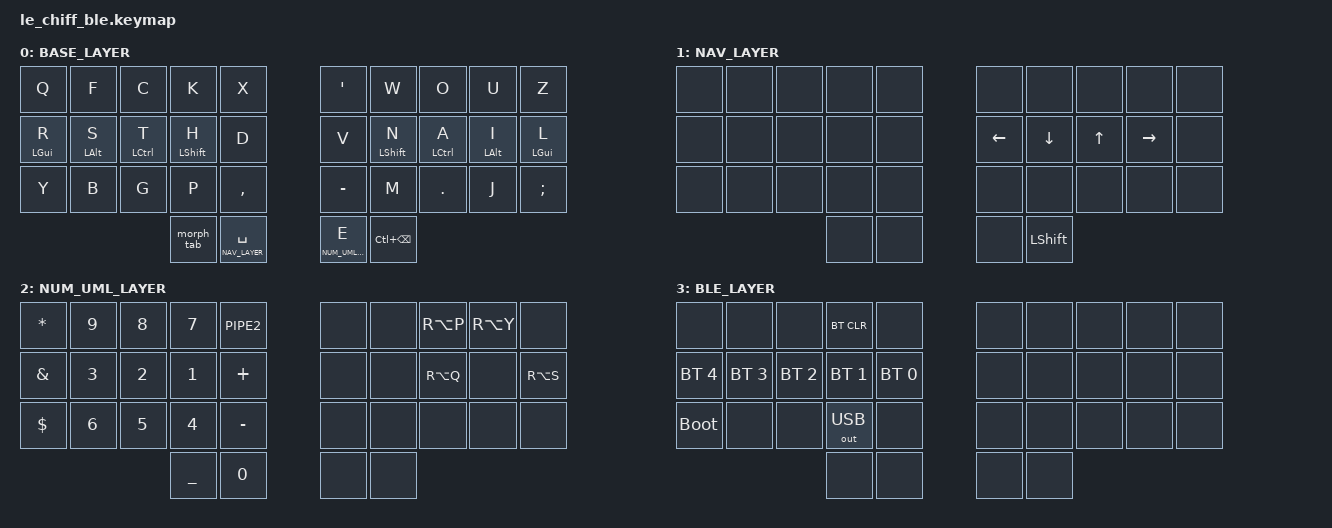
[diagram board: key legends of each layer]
/*
 * Copyright (c) 2020 The ZMK Contributors
 *
 * SPDX-License-Identifier: MIT
 */

#include <behaviors.dtsi>
#include <dt-bindings/zmk/keys.h>
#include <dt-bindings/zmk/bt.h>
#include <dt-bindings/zmk/outputs.h>

/*                KEY POSITIONS

  ╭────────────────────╮ ╭────────────────────╮
  │  0   1   2   3   4 │ │  5   6   7   8   9 │
  │ 10  11  12  13  14 │ │ 15  16  17  18  19 │
  │ 20  21  22  23  24 │ │ 25  26  27  28  29 │
  ╰───────────╮ 30  31 │ │ 32  33 ╭───────────╯
              ╰────────╯ ╰────────╯            
*/

#define BASE_LAYER 0
#define NAV_LAYER 1
#define NUM_UML_LAYER 2
#define BLE_LAYER 3

&caps_word {
   continue-list = <LSHIFT UNDERSCORE MINUS BSPC>; 
};

/ {

    macros {

	lambda_arrow: lambda_arrow {
            label = "lambda_arrow";
            compatible = "zmk,behavior-macro";
	    #binding-cells = <0>;
            wait-ms = <10>;
	    tap-ms = <10>;
	    bindings
	    = <&kp MINUS &kp GREATER_THAN>
	    ;
        };
	
    };

    combos {
        compatible = "zmk,combos"; 

        combo_lBrak {
            timeout-ms = <50>;
            key-positions = <1 2>;
            bindings = <&kp LBKT>;
        };

        combo_rBrak {
            timeout-ms = <50>;
            key-positions = <2 3>;
            bindings = <&kp RBKT>;
        };

        combo_lPar {
            timeout-ms = <50>;
            key-positions = <6 7>;
            bindings = <&kp LPAR>;
        };
	
	combo_rPar {
            timeout-ms = <50>;
            key-positions = <7 8>;
            bindings = <&kp RPAR>;
        };
	
// ------  second row ------------- 

        combo_del {
            timeout-ms = <50>;
            key-positions = <8 9>;
            bindings = <&kp DEL>;
        };

        combo_tab {
            timeout-ms = <25>;
            key-positions = <11 12>;
            bindings = <&kp TAB>;
        };
	
	combo_esc {
            timeout-ms = <25>;
            key-positions = <12 13>;
            bindings = <&kp ESC>;
        };
	
	combo_equals {
            timeout-ms = <50>;
            key-positions = <13 14>;
            bindings = <&kp EQUAL>;
        };
	
 	combo_grave {
            timeout-ms = <50>;
            key-positions = <15 16>;
            bindings = <&kp GRAVE>;
        };
 
        combo_enter {
            timeout-ms = <15>;
            key-positions = <16 17>;
            bindings = <&kp RET>;
        };

        combo_backspace {
            timeout-ms = <25>;
            key-positions = <17 18>;
            bindings = <&kp BSPC>;
        };
	
	combo_caps_word {
            timeout-ms = <50>;
            key-positions = <13 16>;
            bindings = <&caps_word>;
        };	
	
// ----- third row ----------------

        combo_lBrace {
            timeout-ms = <50>;
            key-positions = <21 22>;
            bindings = <&kp LEFT_BRACE>;
        };

        combo_rBrace {
            timeout-ms = <50>;
            key-positions = <22 23>;
            bindings = <&kp RIGHT_BRACE>;
        };
	
        combo_arrow {
            timeout-ms = <50>;
            key-positions = <23 24>;
            bindings = <&lambda_arrow>;
        };
	
        combo_bleLayer {
            timeout-ms = <125>;
            key-positions = <30 31>;
            bindings = <&mo BLE_LAYER>;
        };
	
    };
   
    
    behaviors {        
		hm_shift: homerow_mods_shift {
			compatible = "zmk,behavior-hold-tap";
			label = "HOMEROW_MODS_SHIFT";
			#binding-cells = <2>;
			tapping_term_ms = <125>;
			quick_tap_ms = <200>;
			global-quick-tap;
			flavor = "tap-preferred";
			bindings = <&kp>, <&kp>;
		};
		
		hm_gui: homerow_mods_gui {
			compatible = "zmk,behavior-hold-tap";
			label = "HOMEROW_MODS_GUI";
			#binding-cells = <2>;
			tapping_term_ms = <175>;
			quick_tap_ms = <200>;
			global-quick-tap;
			flavor = "tap-preferred";
			bindings = <&kp>, <&kp>;
		};
		
		gqt: global-quick-tap {
		    compatible = "zmk,behavior-hold-tap";
		    label = "GLOBAL_QUICK_TAP";
		    #binding-cells = <2>;
		    flavor = "tap-preferred";
		    tapping-term-ms = <175>;
		    quick-tap-ms = <125>;
		    global-quick-tap;
		    retro-tap;
		    bindings = <&kp>, <&kp>;
		};
		
		morph_tab: morph_tab {
		    compatible = "zmk,behavior-mod-morph";
		    label = "MOD_MORPH";
		    #binding-cells = <0>;
		    bindings = <&lt NAV_LAYER SLASH>, <&kp TAB>;
		    mods = <(MOD_LGUI|MOD_LCTL|MOD_LALT)>;
		};


	};
 


    keymap {
       compatible = "zmk,keymap";

       BASE_LAYER {
          bindings = <
&kp Q           &kp F        &kp C         &kp K               &kp X                        &kp APOS  &kp W               &kp O         &kp U        &kp Z
&hm_gui LGUI R  &gqt LALT S  &gqt LCTRL T  &hm_shift LSHIFT H  &kp D                &kp V      &hm_shift LSHIFT N  &gqt LCTRL A  &gqt LALT I  &hm_gui LGUI L 
&kp Y           &kp B      &kp G         &kp P               &kp COMMA                      &kp MINUS      &kp M               &kp DOT       &kp J    &kp SEMI
                                      &morph_tab  &lt NAV_LAYER SPACE                       &lt NUM_UML_LAYER E  &kp LC(BSPC)
                  >;
                };


       NAV_LAYER {
          bindings = <
  &none  &none  &none  &none  &none               &none    &none     &none   &none      &none
  &none  &none  &none  &none  &none               &kp LEFT &kp DOWN  &kp UP  &kp RIGHT  &none
  &none  &none  &none  &none  &none               &none    &none     &none   &none      &none
                        &none &none                &none  &kp LSHFT
                        >;
                };
/*
   NUMBER LAYER
  ╭────────────────────╮ ╭────────────────────╮
  │  *   9   8   7   | │ │ __  __   ö   ü  __ │
  │  &   3   2   1   + │ │ __  __   ä  __   ß │
  │  $   6   5   4   - │ │ __  __  __  __  __ │
  ╰───────────╮  _   0 │ │        ╭───────────╯
              ╰────────╯ ╰────────╯            
*/
       NUM_UML_LAYER {
          bindings = <
  &kp STAR  &kp N9  &kp N8  &kp N7  &kp PIPE2          &none  &none  &kp RA(P)  &kp RA(Y)  &none
  &kp AMPS  &kp N3  &kp N2  &kp N1  &kp PLUS        &none  &none  &kp RA(Q)  &none     &kp RA(S)
  &kp DOLLAR &kp N6  &kp N5  &kp N4  &kp MINUS          &none  &none  &none     &none      &none
               &kp UNDER &kp N0          &none &none
                        >;
                };

       BLE_LAYER {
          bindings = <
  &none        &none         &none         &bt BT_CLR     &none                 &none &none &none &none &none
  &bt BT_SEL 4  &bt BT_SEL 3  &bt BT_SEL 2  &bt BT_SEL 1   &bt BT_SEL 0          &none &none &none &none &none
  &bootloader   &none         &none         &out OUT_USB   &none                 &none &none &none &none &none
                                              &none &none                        &none &none
                        >;
                };
   };
};
